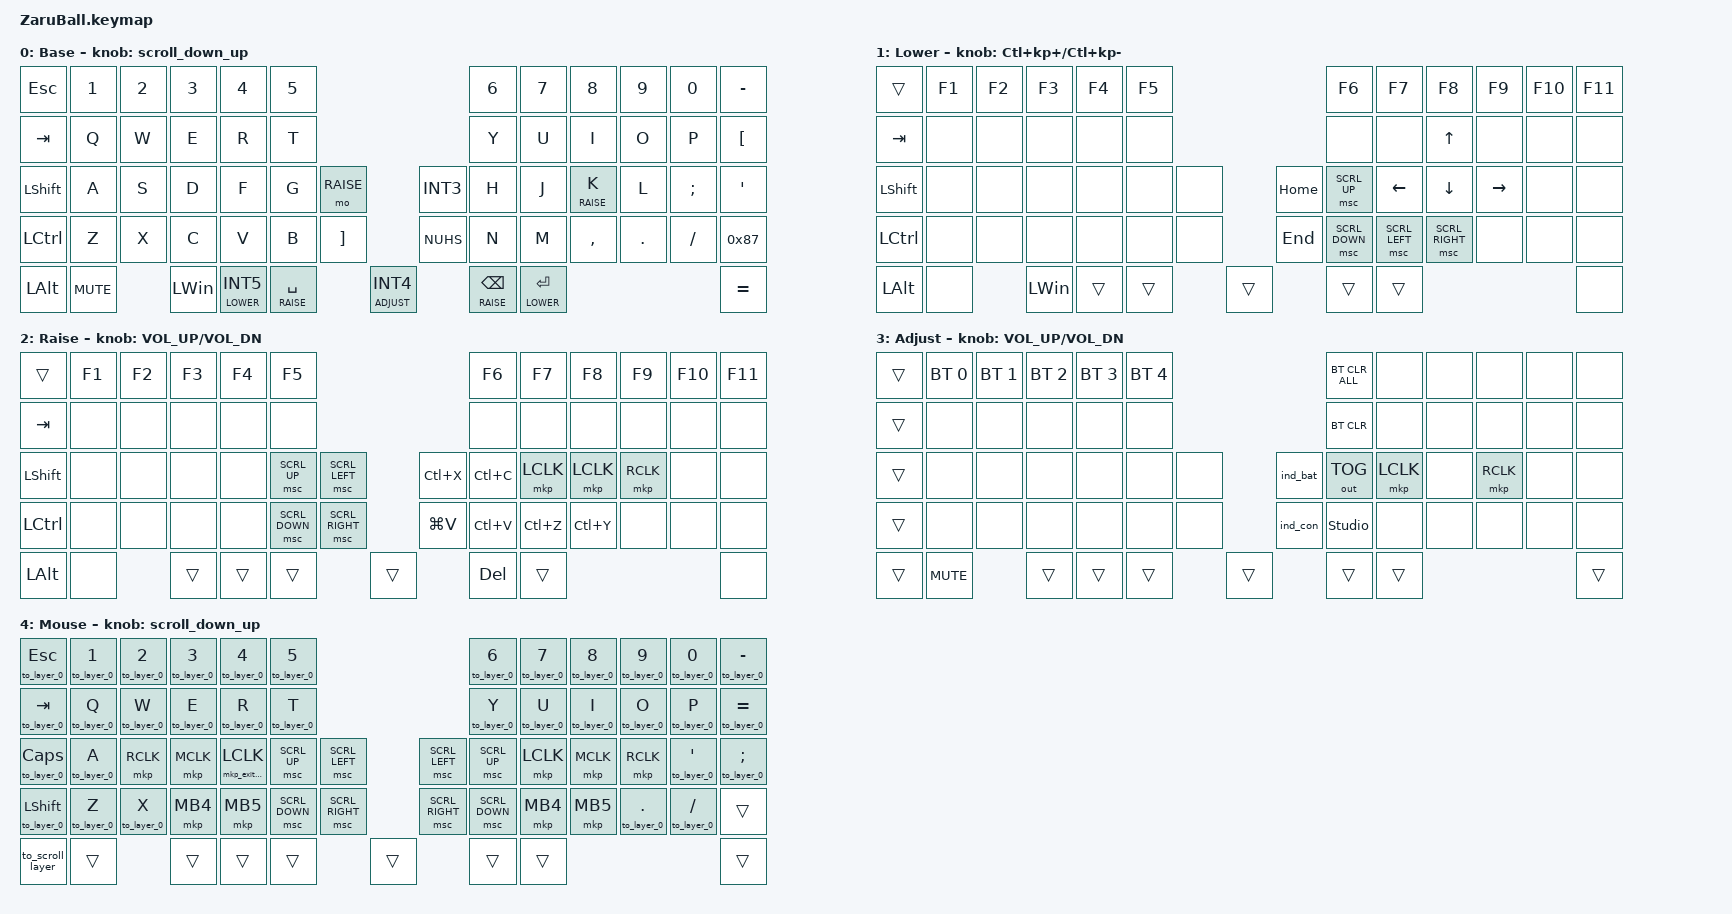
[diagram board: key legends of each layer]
#include <behaviors/rgbled_widget.dtsi>
#include <behaviors.dtsi>
#include <dt-bindings/zmk/bt.h>
#include <dt-bindings/zmk/keys.h>
#include <dt-bindings/zmk/outputs.h>
#include <dt-bindings/zmk/pointing.h>

#include <input/processors.dtsi>
#include <dt-bindings/zmk/input_transform.h>

// -------------------------------------------------------------------------
// JIS変換定義 (OSが日本語配列設定の場合の出力マッピング)
// -------------------------------------------------------------------------
#define JP_AT           LBKT             // @ (USの [ キー)
#define JP_CARET        EQUAL            // ^ (USの = キー)
#define JP_YEN          INT3             // ¥ (JISの ¥ キー)
#define JP_PIPE         LS(INT3)         // | (Shift + ¥)
#define JP_COLON        SQT              // : (USの ' キー)
#define JP_LBRACKET     RBKT             // [ (USの ] キー)
#define JP_RBRACKET     NUHS             // ] (USの \ キー / Non-US #)
#define JP_UNDERSCORE   LS(INT1)         // _ (Shift + Ro)
#define JP_BACKSLASH    INT1             // \ (Roキー)

// Shiftが必要な記号
#define JP_DQUOTE       LS(N2)           // "
#define JP_AMPERSAND    LS(N6)           // &
#define JP_QUOTE        LS(N7)           // '
#define JP_LPAREN       LS(N8)           // (
#define JP_RPAREN       LS(N9)           // )
#define JP_EQUAL        LS(MINUS)        // =
#define JP_PLUS         LS(SEMI)         // +
#define JP_ASTERISK     LS(SQT)          // *
#define JP_TILD         LS(EQUAL)        // ~
#define JP_GRAVE        LS(LBKT)         // `
#define JP_LBRACE       LS(RBKT)         // {
#define JP_RBRACE       LS(NUHS)         // }

// -------------------------------------------------------------------------
// レイヤー定義
// -------------------------------------------------------------------------
#define BASE 0
#define LOWER 1
#define RAISE 2
#define ADJUST 3
#define MOUSE 4
#define SCROLL 6

// スクロール量の設定
// #define ZMK_POINTING_DEFAULT_SCRL_VAL 100

&trackball_listener {
    input-processors =  <
        &zip_xy_transform 0  // V3.2用にリセット
    >;
    scroller {
        layers = <SCROLL ADJUST>;
        input-processors = <
            &zip_xy_transform 0  // スクロールもリセット
            &zip_xy_scaler 1 20
            &zip_xy_to_scroll_mapper
        >;
    };
};

/ {
    conditional_layers {
        compatible = "zmk,conditional-layers";

        tri_layer {
            if-layers = <1 2>;
            then-layer = <3>;
        };
    };
};

/ {
    behaviors {
        // スクロール用のbehaviorの設定
        scroll_down_up: behavior_sensor_rotate_mouse_wheel_down_up {
            compatible = "zmk,behavior-sensor-rotate";
            #sensor-binding-cells = <0>;
            bindings = <&msc SCRL_DOWN>, <&msc SCRL_UP>;
            tap-ms = <20>; // スクロールのタップ時間
        };

        td0: tap_dance_0 {
            compatible = "zmk,behavior-tap-dance";
            #binding-cells = <0>;
            tapping-term-ms = <200>;
            bindings = <&mt LALT LANG2>, <&mo RAISE>, <&mo MOUSE>;
        };

        td1: tap_dance_1 {
            compatible = "zmk,behavior-tap-dance";
            #binding-cells = <0>;
            tapping-term-ms = <200>;
            bindings = <&mt RCTL LANG1>, <&mo RAISE>, <&mo 5>;
        };
    };
};

&sl { release-after-ms = <250>; }; // time needed for double click (for mkp_exit_AML)
/ {
    macros {
        // When in AML, move to default layer when key (except mouse button) pressed

        to_layer_0: to_layer_0 {
            compatible = "zmk,behavior-macro-one-param";
            #binding-cells = <1>;
            bindings = <&to BASE &macro_param_1to1 &kp MACRO_PLACEHOLDER>;
            label = "TO_layer_0";
        };

        // When LCLK pressed, exit AML (after 250ms cause by sticky layer)

        mkp_exit_AML: mkp_exit_AML {
            compatible = "zmk,behavior-macro-one-param";
            #binding-cells = <1>;
            bindings =
                <&macro_press>,
                <&macro_param_1to1 &mkp MACRO_PLACEHOLDER>,
                <&macro_pause_for_release>,
                <&macro_release>,
                <&macro_param_1to1 &mkp MACRO_PLACEHOLDER>,
                <&macro_tap>,
                <&sl MOUSE>;

            label = "MKP_EXIT_AML";
        };

        // Support swapping into Scroll layer when AML is activated

        to_scroll_layer: to_scroll_layer {
            compatible = "zmk,behavior-macro";
            #binding-cells = <0>;
            bindings =
                <&to SCROLL>,
                <&macro_press>,
                <&mo SCROLL>,
                <&macro_pause_for_release>,
                <&macro_release>,
                <&mo SCROLL>;
        };
    };
};

/ {
    keymap {
        compatible = "zmk,keymap";

        base_layer {
            display-name = "Base";
            sensor-bindings = <&scroll_down_up>;
            bindings = <
&kp ESC    &kp N1  &kp N2      &kp N3    &kp N4     &kp N5                                               &kp N6  &kp N7  &kp N8      &kp N9   &kp N0     &kp MINUS
&kp TAB    &kp Q   &kp W       &kp E     &kp R      &kp T                                                &kp Y   &kp U   &kp I       &kp O    &kp P      &kp JP_AT
&kp LSHFT  &kp A   &kp S       &kp D     &kp F      &kp G      &mo RAISE            &kp JP_YEN           &kp H   &kp J   &lt RAISE K &kp L    &kp SEMI   &kp JP_COLON
&kp LCTRL  &kp Z   &kp X       &kp C     &kp V      &kp B      &kp JP_LBRACKET      &kp JP_RBRACKET      &kp N   &kp M   &kp COMMA   &kp DOT  &kp FSLH   &kp 0x87
&kp LALT      &kp C_MUTE  &kp LWIN  &lt LOWER INT5  &lt RAISE SPACE  &lt ADJUST INT4            &lt RAISE BSPC     &lt LOWER RET                            &kp JP_CARET
            >;
        };

        lower_layer {
            display-name = "Lower";
            // 時計回り: 拡大 (Ctrl + テンキーの+)
            // 反時計回り: 縮小 (Ctrl + テンキーの-)
            sensor-bindings = <&inc_dec_kp LC(KP_PLUS) LC(KP_MINUS)>;
            bindings = <
&trans     &kp F1  &kp F2  &kp F3  &kp F4  &kp F5                      &kp F6          &kp F7           &kp F8            &kp F9     &kp F10  &kp F11
&kp TAB    &none   &none   &none   &none   &none                       &none           &none            &kp UP            &none      &none    &none
&kp LSHFT  &none   &none   &none   &none   &none   &none    &kp HOME   &msc SCRL_UP    &kp LEFT         &kp DOWN          &kp RIGHT  &none    &none
&kp LCTRL  &none   &none   &none   &none   &none   &none    &kp END    &msc SCRL_DOWN  &msc SCRL_LEFT   &msc SCRL_RIGHT   &none      &none    &none
&kp LALT           &none  &kp LWIN    &trans     &trans    &trans     &trans      &trans                                 &none
            >;
        };

        raise_layer {
            display-name = "Raise";
            sensor-bindings = <&inc_dec_kp C_VOL_UP C_VOL_DN>;
            bindings = <
&trans     &kp F1  &kp F2  &kp F3     &kp F4     &kp F5                                      &kp F6     &kp F7      &kp F8       &kp F9     &kp F10    &kp F11
&kp TAB    &none   &none   &none      &none      &none                                       &none      &none       &none        &none      &none      &none
&kp LSHFT  &none   &none   &none      &none      &msc SCRL_UP    &msc SCRL_LEFT   &kp LC(X)  &kp LC(C)  &mkp LCLK  &mkp LCLK   &mkp RCLK    &none      &none
&kp LCTRL  &none   &none   &none      &none      &msc SCRL_DOWN  &msc SCRL_RIGHT  &kp LG(V)  &kp LC(V)  &kp LC(Z)  &kp LC(Y)   &none        &none      &none
&kp LALT         &none  &trans     &trans     &trans          &trans           &kp DEL     &trans                                 &none
            >;
        };

        adjust_layer {
            display-name = "Adjust";
            sensor-bindings = <&inc_dec_kp C_VOL_UP C_VOL_DN>;
            bindings = <
&trans  &bt BT_SEL 0  &bt BT_SEL 1  &bt BT_SEL 2  &bt BT_SEL 3  &bt BT_SEL 4                          &bt BT_CLR_ALL  &none       &none  &none      &none   &none
&trans  &none         &none         &none         &none         &none                                 &bt BT_CLR      &none       &none  &none      &none   &none
&trans  &none         &none         &none         &none         &none         &none      &ind_bat     &out OUT_TOG    &mkp LCLK   &none  &mkp RCLK  &none   &none
&trans  &none         &none         &none         &none         &none         &none      &ind_con     &studio_unlock  &none       &none  &none      &none   &none
&trans                &kp C_MUTE    &trans        &trans        &trans        &trans     &trans       &trans                              &trans
            >;
        };

        mouse_layer {
            display-name = "Mouse";
            sensor-bindings = <&scroll_down_up>;
            bindings = <
&to_layer_0 ESC             &to_layer_0 N1  &to_layer_0 N2  &to_layer_0 N3  &to_layer_0 N4      &to_layer_0 N5                   &to_layer_0 N6   &to_layer_0 N7  &to_layer_0 N8  &to_layer_0 N9  &to_layer_0 N0      &to_layer_0 MINUS
&to_layer_0 TAB             &to_layer_0 Q   &to_layer_0 W   &to_layer_0 E   &to_layer_0 R       &to_layer_0 T                    &to_layer_0 Y    &to_layer_0 U   &to_layer_0 I   &to_layer_0 O   &to_layer_0 P       &to_layer_0 EQUAL
&to_layer_0 CAPS            &to_layer_0 A   &mkp RCLK       &mkp MCLK       &mkp_exit_AML LCLK  &msc SCRL_UP    &msc SCRL_LEFT   &msc SCRL_LEFT   &msc SCRL_UP    &mkp LCLK       &mkp MCLK       &mkp RCLK           &to_layer_0 SINGLE_QUOTE  &to_layer_0 SEMICOLON
&to_layer_0 LSHIFT          &to_layer_0 Z   &to_layer_0 X   &mkp MB4        &mkp MB5            &msc SCRL_DOWN  &msc SCRL_RIGHT  &msc SCRL_RIGHT  &msc SCRL_DOWN  &mkp MB4        &mkp MB5        &to_layer_0 PERIOD  &to_layer_0 SLASH         &trans
&to_scroll_layer                  &trans          &trans          &trans              &trans          &trans           &trans           &trans                                                              &trans
            >;
        };

        // Extra layer can be added in ZMK STUDIO

        extra1 { status = "reserved"; };

        extra2 { status = "reserved"; };
    };
};
